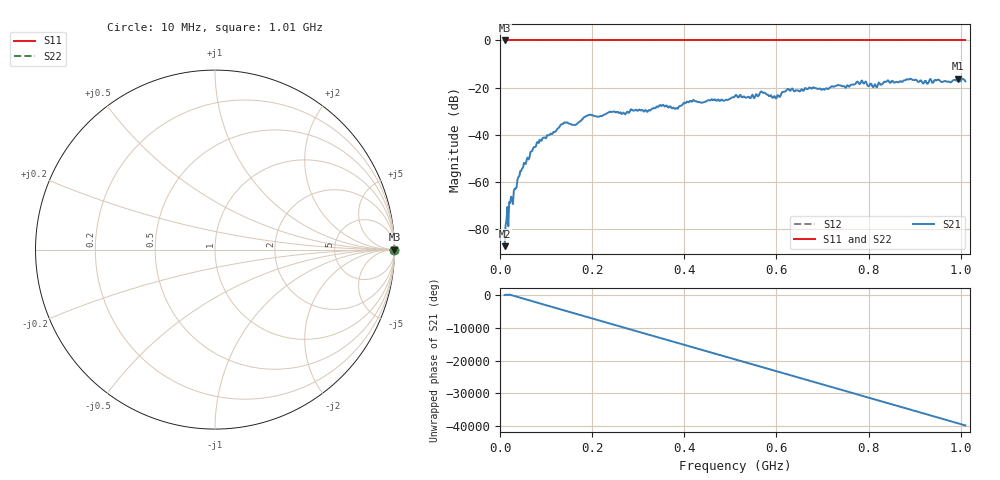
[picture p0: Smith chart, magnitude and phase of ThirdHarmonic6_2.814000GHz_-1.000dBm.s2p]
! 8/17/2025 7:24:36 AM
! C:\ANRITSUVNA\TEMP\TEMP.S2P
! CHANNEL.1
! TR.MEASUREMENT
! RAW.DATA
! RF.CORRECTION.OFF
! AVERAGING.OFF
! IF.BANDWIDTH: 5KHZ
! SWEEPTYPE:  FREQ.SWEEP(Linear)
! Reference Plane Port Info
! PORT:  PORT1  PORT2
! DISTANCE:  0  m  0  m
! TIME:  0  s  0  s
! PHASE.OFFSET:  0  deg.  0  deg.
! LOSS:  0  dB  0  dB
! REF.LOSS:  0  dB  0  dB
! REF.FREQ:  0  Hz  0  Hz
! Power Info
! POWER:  -20  dBm  -20  dBm
! EFF.POWER:  -20  dBm  -20  dBm
! SOURCE.ATTEN:  0  dB  0  dB
! TEST.ATTEN:  0  dB  0  dB
# GHZ S RI R 50.0
! FREQ.GHZ  S11RE  S11IM  S21RE  S21IM  S12RE  S12IM  S22RE  S22IM
!; PortSelection: Port_12
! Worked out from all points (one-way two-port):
!   501 points, 10 MHz to 1.01 GHz, reference 50 ohm
!   highest |S21| = -16.15 dB at 994 MHz (marker M1); lowest = -87.2 dB at 10 MHz (marker M2)
!   lowest |S11| = 0.0 dB at 10 MHz (marker M3)
!   |S11| at or under -10 dB: nowhere
!   |S22| runs from 0.0 to 0.0 dB; largest |S21 - S12| = 1.1
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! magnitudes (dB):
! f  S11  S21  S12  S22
! 10 MHz  0.0  -87.2  0.0  0.0
! 20 MHz  0.0  -68.5  0.0  0.0
! 42 MHz  0.0  -57.5  0.0  0.0
! 70 MHz  0.0  -46.8  0.0  0.0
! 136 MHz  0.0  -35.4  0.0  0.0
! 162 MHz  0.0  -35.8  0.0  0.0
! 178 MHz  0.0  -33.4  0.0  0.0
! 194 MHz  0.0  -31.5  0.0  0.0
! 344 MHz  0.0  -28.1  0.0  0.0
! 382 MHz  0.0  -28.7  0.0  0.0
! 416 MHz  0.0  -26.0  0.0  0.0
! 510 MHz  0.0  -23.6  0.0  0.0
! 540 MHz  0.0  -23.9  0.0  0.0
! 570 MHz  0.0  -22.1  0.0  0.0
! 596 MHz  0.0  -23.6  0.0  0.0
! 624 MHz  0.0  -20.6  0.0  0.0
! 678 MHz  0.0  -20.1  0.0  0.0
! 788 MHz  0.0  -18.0  0.0  0.0
! 814 MHz  0.0  -18.6  0.0  0.0
! 844 MHz  0.0  -17.4  0.0  0.0
! 994 MHz  0.0  -16.2  0.0  0.0
! 1.01 GHz  0.0  -17.3  0.0  0.0
